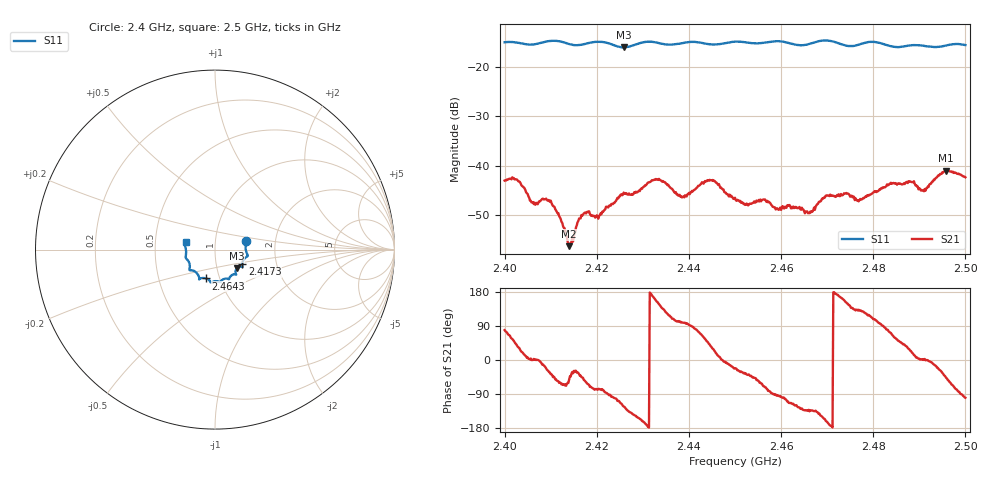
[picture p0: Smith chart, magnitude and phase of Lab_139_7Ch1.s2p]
# Hz S RI R 50
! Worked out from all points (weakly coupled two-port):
!   601 points, 2.4 GHz to 2.5 GHz, reference 50 ohm
!   highest |S21| = -41.04 dB at 2.4958 GHz (marker M1); lowest = -56.4 dB at 2.414 GHz (marker M2)
!   lowest |S11| = -15.9 dB at 2.4258 GHz (marker M3), VSWR 1.38, Z = 62.3 - j13.3 ohm
!   |S11| at or under -10 dB: start of sweep to end of sweep
!   S12 and S22 are empty: the file has one direction only
!   S11 on the Smith chart (normalised r, x): 2.4 GHz: 1.41, +0.14; 2.4173 GHz: 1.34, -0.23; 2.4643 GHz: 0.86, -0.28; 2.5 GHz: 0.72, +0.06
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2.4e9  0.1736 0.0485  0.00135 0.0069  0 0  0 0
2.402833e9  0.175 0.0352  0.00576 0.00409  0 0  0 0
2.406333e9  0.1717 -0.00258  0.00404 0.000199  0 0  0 0
2.409833e9  0.1828 -0.033  0.00357 -0.00233  0 0  0 0
2.414e9  0.1664 -0.0472  0.000928 -0.00119  0 0  0 0
2.416667e9  0.1528 -0.0747  0.00222 -0.00221  0 0  0 0
2.417333e9  0.1519 -0.0821  0.00195 -0.00266  0 0  0 0
2.420167e9  0.154 -0.0979  0.000602 -0.00297  0 0  0 0
2.425833e9  0.1218 -0.1039  -0.00287 -0.00446  0 0  0 0
2.433333e9  0.1124 -0.1374  -0.00618 0.00357  0 0  0 0
2.438667e9  0.0808 -0.1578  -0.000729 0.00473  0 0  0 0
2.445e9  0.0555 -0.1622  0.00596 0.00375  0 0  0 0
2.45e9  0.0284 -0.1808  0.00437 -0.00173  0 0  0 0
2.464333e9  -0.0499 -0.1606  -0.00223 -0.00275  0 0  0 0
2.466667e9  -0.0759 -0.1592  -0.00234 -0.00251  0 0  0 0
2.470167e9  -0.0883 -0.1655  -0.00479 -0.00117  0 0  0 0
2.477e9  -0.1262 -0.1158  -0.00291 0.00333  0 0  0 0
2.483333e9  -0.1403 -0.0898  0.00155 0.00615  0 0  0 0
2.488333e9  -0.1611 -0.0489  0.00635 0.00239  0 0  0 0
2.490833e9  -0.1624 -0.0357  0.0056 1.7e-05  0 0  0 0
2.495833e9  -0.1663 0.0183  0.00601 -0.00653  0 0  0 0
2.5e9  -0.1635 0.0426  -0.00127 -0.00748  0 0  0 0
